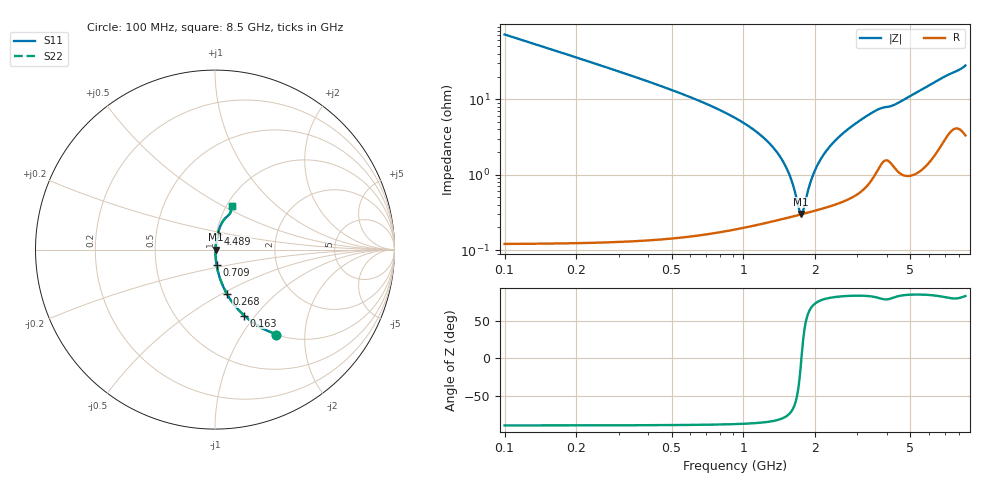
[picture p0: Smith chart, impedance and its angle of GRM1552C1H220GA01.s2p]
!Murata Part Number: GRM1552C1H220GA01
!These Parameters are Measured in Series Mode Connection
!Data Generated on Mar 30, 2021
!  o--ll--o
!Port1  Port2
!  o------o
!Operation Temp=25[degC], DC Bias Voltage=0[V]
!Freq. Start=100[MHz] Stop=9[GHz] 401[Steps]
# Hz S RI R 50
!Freq.(Hz) S11(Real) S11(Imag) S21(Real) S21(Imag) S12(Real) S12(Imag) S22(Real) S22(Imag)
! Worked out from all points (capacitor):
!   401 points, 100 MHz to 8.5 GHz, reference 50 ohm
!   read as one part in series: C = 22 pF near 142 MHz
!   lowest |Z| = 302 mohm at 1.738 GHz (marker M1)
!   series resonance near 1.749 GHz, so ESL is about 380 pH
!   S11 on the Smith chart (normalised r, x): 100 MHz: 1.00, -1.44; 163 MHz: 1.00, -0.88; 268 MHz: 1.00, -0.53; 709 MHz: 1.00, -0.17; 4.489 GHz: 1.02, +0.18; 8.5 GHz: 1.07, +0.56
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1e8  0.3423 -0.4736  0.6577 0.4736  0.6577 0.4736  0.3423 -0.4736
1.63e8  0.1628 -0.3678  0.8372 0.3678  0.8372 0.3678  0.1628 -0.3678
2.68e8  0.066 -0.2458  0.934 0.2458  0.934 0.2458  0.066 -0.2458
4.57e8  0.0226 -0.1439  0.9774 0.1439  0.9774 0.1439  0.0226 -0.1439
7.09e8  0.00879 -0.0843  0.9912 0.0843  0.9912 0.0843  0.00879 -0.0843
1.234e9  0.00314 -0.0293  0.9969 0.0293  0.9969 0.0293  0.00314 -0.0293
1.507e9  0.0028 -0.0123  0.9972 0.0123  0.9972 0.0123  0.0028 -0.0123
1.591e9  0.00282 -0.00783  0.9972 0.00783  0.9972 0.00783  0.00282 -0.00783
1.696e9  0.00291 -0.00255  0.9971 0.00255  0.9971 0.00255  0.00291 -0.00255
1.738e9  0.00296 -0.000534  0.997 0.000534  0.997 0.000534  0.00296 -0.000534
1.78e9  0.00302 0.00144  0.997 -0.00144  0.997 -0.00144  0.00302 0.00144
1.885e9  0.0032 0.00619  0.9968 -0.00619  0.9968 -0.00619  0.0032 0.00619
1.969e9  0.00338 0.00984  0.9966 -0.00984  0.9966 -0.00984  0.00338 0.00984
2.158e9  0.00388 0.0176  0.9961 -0.0176  0.9961 -0.0176  0.00388 0.0176
2.473e9  0.00498 0.0297  0.995 -0.0297  0.995 -0.0297  0.00498 0.0297
2.914e9  0.00725 0.0456  0.9928 -0.0456  0.9928 -0.0456  0.00725 0.0456
3.607e9  0.0155 0.0689  0.9845 -0.0689  0.9845 -0.0689  0.0155 0.0689
4.3e9  0.0188 0.0813  0.9812 -0.0813  0.9812 -0.0813  0.0188 0.0813
4.489e9  0.0183 0.0878  0.9817 -0.0878  0.9817 -0.0878  0.0183 0.0878
5.707e9  0.0305 0.1334  0.9695 -0.1334  0.9695 -0.1334  0.0305 0.1334
7.114e9  0.0676 0.1847  0.9324 -0.1847  0.9324 -0.1847  0.0676 0.1847
8.5e9  0.0973 0.2427  0.9027 -0.2427  0.9027 -0.2427  0.0973 0.2427
